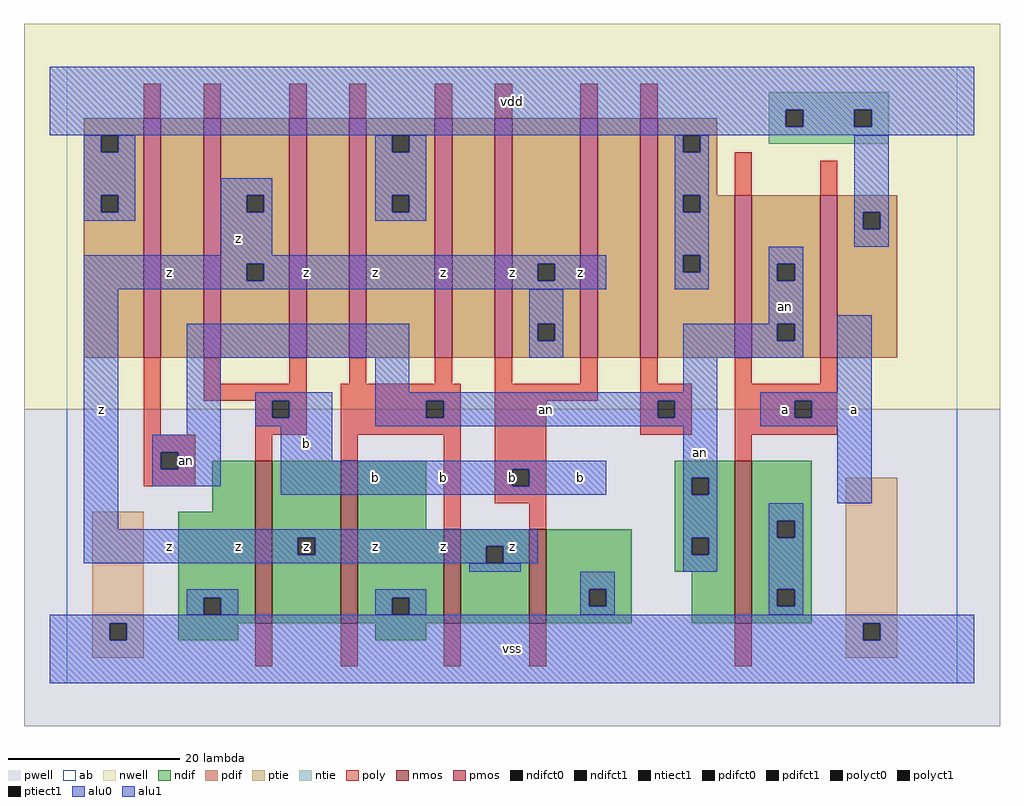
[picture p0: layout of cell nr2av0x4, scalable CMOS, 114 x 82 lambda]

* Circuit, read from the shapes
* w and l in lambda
.subckt nr2av0x4 a an b vdd vss z
M1 z b vss vss nfet w=19 l=2
M2 vss an z vss nfet w=19 l=2
M3 z an vss vss nfet w=11 l=2
M4 vss b z vss nfet w=11 l=2
M5 vss a an vss nfet w=19 l=2
M6 n1 an vdd vdd pfet w=28 l=2
M7 z b n1 vdd pfet w=28 l=2
M8 n2 b z vdd pfet w=28 l=2
M9 vdd an n2 vdd pfet w=28 l=2
M10 n3 an vdd vdd pfet w=28 l=2
M11 z b n3 vdd pfet w=28 l=2
M12 n4 b z vdd pfet w=28 l=2
M13 vdd an n4 vdd pfet w=28 l=2
M14 an a vdd vdd pfet w=19 l=2 m=2
.ends

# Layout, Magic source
magic
tech scmos
<< ab >>
rect 0 0 104 72
<< nwell >>
rect -5 32 109 77
<< pwell >>
rect -5 -5 109 32
<< poly >>
rect 9 66 11 70
rect 16 66 18 70
rect 26 66 28 70
rect 33 66 35 70
rect 43 66 45 70
rect 50 66 52 70
rect 60 66 62 70
rect 67 66 69 70
rect 78 57 80 62
rect 88 57 90 61
rect 9 29 11 38
rect 16 35 18 38
rect 26 35 28 38
rect 33 35 35 38
rect 43 35 45 38
rect 50 35 52 38
rect 60 35 62 38
rect 16 33 28 35
rect 22 31 24 33
rect 26 31 28 33
rect 22 29 28 31
rect 32 33 46 35
rect 32 31 42 33
rect 44 31 46 33
rect 32 29 46 31
rect 9 27 15 29
rect 9 25 11 27
rect 13 25 15 27
rect 22 26 24 29
rect 32 26 34 29
rect 9 23 15 25
rect 44 18 46 29
rect 50 33 62 35
rect 67 35 69 38
rect 78 35 80 38
rect 88 35 90 38
rect 67 33 73 35
rect 50 25 56 33
rect 67 31 69 33
rect 71 31 73 33
rect 67 29 73 31
rect 78 33 90 35
rect 78 31 85 33
rect 87 31 90 33
rect 78 29 90 31
rect 78 26 80 29
rect 50 23 52 25
rect 54 23 56 25
rect 50 21 56 23
rect 54 18 56 21
rect 22 2 24 7
rect 32 2 34 7
rect 44 2 46 7
rect 54 2 56 7
rect 78 2 80 7
<< ndif >>
rect 17 20 22 26
rect 13 10 22 20
rect 13 8 16 10
rect 18 8 22 10
rect 13 7 22 8
rect 24 17 32 26
rect 24 15 27 17
rect 29 15 32 17
rect 24 7 32 15
rect 34 18 42 26
rect 71 24 78 26
rect 71 22 73 24
rect 75 22 78 24
rect 34 10 44 18
rect 34 8 38 10
rect 40 8 44 10
rect 34 7 44 8
rect 46 16 54 18
rect 46 14 49 16
rect 51 14 54 16
rect 46 7 54 14
rect 56 11 66 18
rect 71 17 78 22
rect 71 15 73 17
rect 75 15 78 17
rect 71 13 78 15
rect 56 9 61 11
rect 63 9 66 11
rect 56 7 66 9
rect 73 7 78 13
rect 80 19 87 26
rect 80 17 83 19
rect 85 17 87 19
rect 80 11 87 17
rect 80 9 83 11
rect 85 9 87 11
rect 80 7 87 9
rect 13 5 20 7
rect 36 5 42 7
<< pdif >>
rect 2 64 9 66
rect 2 62 4 64
rect 6 62 9 64
rect 2 57 9 62
rect 2 55 4 57
rect 6 55 9 57
rect 2 38 9 55
rect 11 38 16 66
rect 18 57 26 66
rect 18 55 21 57
rect 23 55 26 57
rect 18 49 26 55
rect 18 47 21 49
rect 23 47 26 49
rect 18 38 26 47
rect 28 38 33 66
rect 35 64 43 66
rect 35 62 38 64
rect 40 62 43 64
rect 35 57 43 62
rect 35 55 38 57
rect 40 55 43 57
rect 35 38 43 55
rect 45 38 50 66
rect 52 49 60 66
rect 52 47 55 49
rect 57 47 60 49
rect 52 42 60 47
rect 52 40 55 42
rect 57 40 60 42
rect 52 38 60 40
rect 62 38 67 66
rect 69 64 76 66
rect 69 62 72 64
rect 74 62 76 64
rect 69 57 76 62
rect 69 55 72 57
rect 74 55 78 57
rect 69 50 78 55
rect 69 48 72 50
rect 74 48 78 50
rect 69 38 78 48
rect 80 49 88 57
rect 80 47 83 49
rect 85 47 88 49
rect 80 42 88 47
rect 80 40 83 42
rect 85 40 88 42
rect 80 38 88 40
rect 90 55 97 57
rect 90 53 93 55
rect 95 53 97 55
rect 90 38 97 53
<< alu1 >>
rect -2 67 106 72
rect -2 65 84 67
rect 86 65 92 67
rect 94 65 106 67
rect -2 64 106 65
rect 18 57 24 59
rect 18 55 21 57
rect 23 55 24 57
rect 18 50 24 55
rect 2 49 63 50
rect 2 47 21 49
rect 23 47 55 49
rect 57 47 63 49
rect 2 46 63 47
rect 2 18 6 46
rect 90 34 94 43
rect 22 33 31 34
rect 22 31 24 33
rect 26 31 31 33
rect 22 30 31 31
rect 81 33 94 34
rect 81 31 85 33
rect 87 31 94 33
rect 81 30 94 31
rect 25 26 31 30
rect 25 25 63 26
rect 25 23 52 25
rect 54 23 63 25
rect 25 22 63 23
rect 2 17 55 18
rect 2 15 27 17
rect 29 16 55 17
rect 29 15 49 16
rect 2 14 49 15
rect 51 14 55 16
rect 90 21 94 30
rect -2 7 106 8
rect -2 5 5 7
rect 7 5 93 7
rect 95 5 106 7
rect -2 0 106 5
<< ptie >>
rect 3 7 9 20
rect 3 5 5 7
rect 7 5 9 7
rect 91 7 97 24
rect 3 3 9 5
rect 91 5 93 7
rect 95 5 97 7
rect 91 3 97 5
<< ntie >>
rect 82 67 96 69
rect 82 65 84 67
rect 86 65 92 67
rect 94 65 96 67
rect 82 63 96 65
<< nmos >>
rect 22 7 24 26
rect 32 7 34 26
rect 44 7 46 18
rect 54 7 56 18
rect 78 7 80 26
<< pmos >>
rect 9 38 11 66
rect 16 38 18 66
rect 26 38 28 66
rect 33 38 35 66
rect 43 38 45 66
rect 50 38 52 66
rect 60 38 62 66
rect 67 38 69 66
rect 78 38 80 57
rect 88 38 90 57
<< polyct0 >>
rect 42 31 44 33
rect 11 25 13 27
rect 69 31 71 33
<< polyct1 >>
rect 24 31 26 33
rect 85 31 87 33
rect 52 23 54 25
<< ndifct0 >>
rect 16 8 18 10
rect 73 22 75 24
rect 38 8 40 10
rect 73 15 75 17
rect 61 9 63 11
rect 83 17 85 19
rect 83 9 85 11
<< ndifct1 >>
rect 27 15 29 17
rect 49 14 51 16
<< ntiect1 >>
rect 84 65 86 67
rect 92 65 94 67
<< ptiect1 >>
rect 5 5 7 7
rect 93 5 95 7
<< pdifct0 >>
rect 4 62 6 64
rect 4 55 6 57
rect 38 62 40 64
rect 38 55 40 57
rect 55 40 57 42
rect 72 62 74 64
rect 72 55 74 57
rect 72 48 74 50
rect 83 47 85 49
rect 83 40 85 42
rect 93 53 95 55
<< pdifct1 >>
rect 21 55 23 57
rect 21 47 23 49
rect 55 47 57 49
<< alu0 >>
rect 2 62 4 64
rect 6 62 8 64
rect 2 57 8 62
rect 36 62 38 64
rect 40 62 42 64
rect 2 55 4 57
rect 6 55 8 57
rect 2 54 8 55
rect 36 57 42 62
rect 36 55 38 57
rect 40 55 42 57
rect 36 54 42 55
rect 71 62 72 64
rect 74 62 75 64
rect 71 57 75 62
rect 71 55 72 57
rect 74 55 75 57
rect 71 50 75 55
rect 92 55 96 64
rect 92 53 93 55
rect 95 53 96 55
rect 92 51 96 53
rect 71 48 72 50
rect 74 48 75 50
rect 71 46 75 48
rect 82 49 86 51
rect 82 47 83 49
rect 85 47 86 49
rect 54 42 58 46
rect 82 42 86 47
rect 14 38 40 42
rect 54 40 55 42
rect 57 40 58 42
rect 54 38 58 40
rect 72 40 83 42
rect 85 40 86 42
rect 72 38 86 40
rect 14 29 18 38
rect 36 34 40 38
rect 72 34 76 38
rect 36 33 76 34
rect 36 31 42 33
rect 44 31 69 33
rect 71 31 76 33
rect 36 30 76 31
rect 10 27 18 29
rect 10 25 11 27
rect 13 25 18 27
rect 10 23 18 25
rect 72 24 76 30
rect 72 22 73 24
rect 75 22 76 24
rect 72 17 76 22
rect 72 15 73 17
rect 75 15 76 17
rect 47 13 53 14
rect 72 13 76 15
rect 82 19 86 21
rect 82 17 83 19
rect 85 17 86 19
rect 60 11 64 13
rect 14 10 20 11
rect 14 8 16 10
rect 18 8 20 10
rect 36 10 42 11
rect 36 8 38 10
rect 40 8 42 10
rect 60 9 61 11
rect 63 9 64 11
rect 60 8 64 9
rect 82 11 86 17
rect 82 9 83 11
rect 85 9 86 11
rect 82 8 86 9
<< labels >>
rlabel alu0 14 26 14 26 6 an
rlabel alu0 56 32 56 32 6 an
rlabel alu0 84 44 84 44 6 an
rlabel alu0 74 27 74 27 6 an
rlabel alu1 12 16 12 16 6 z
rlabel alu1 20 16 20 16 6 z
rlabel alu1 4 32 4 32 6 z
rlabel alu1 20 52 20 52 6 z
rlabel alu1 12 48 12 48 6 z
rlabel alu1 36 16 36 16 6 z
rlabel alu1 44 16 44 16 6 z
rlabel ndifct1 28 16 28 16 6 z
rlabel alu1 28 28 28 28 6 b
rlabel alu1 44 24 44 24 6 b
rlabel alu1 36 24 36 24 6 b
rlabel alu1 28 48 28 48 6 z
rlabel alu1 44 48 44 48 6 z
rlabel alu1 36 48 36 48 6 z
rlabel alu1 52 4 52 4 6 vss
rlabel alu1 52 16 52 16 6 z
rlabel alu1 52 24 52 24 6 b
rlabel alu1 60 24 60 24 6 b
rlabel alu1 52 48 52 48 6 z
rlabel alu1 60 48 60 48 6 z
rlabel alu1 52 68 52 68 6 vdd
rlabel alu1 84 32 84 32 6 a
rlabel alu1 92 32 92 32 6 a
<< end >>
